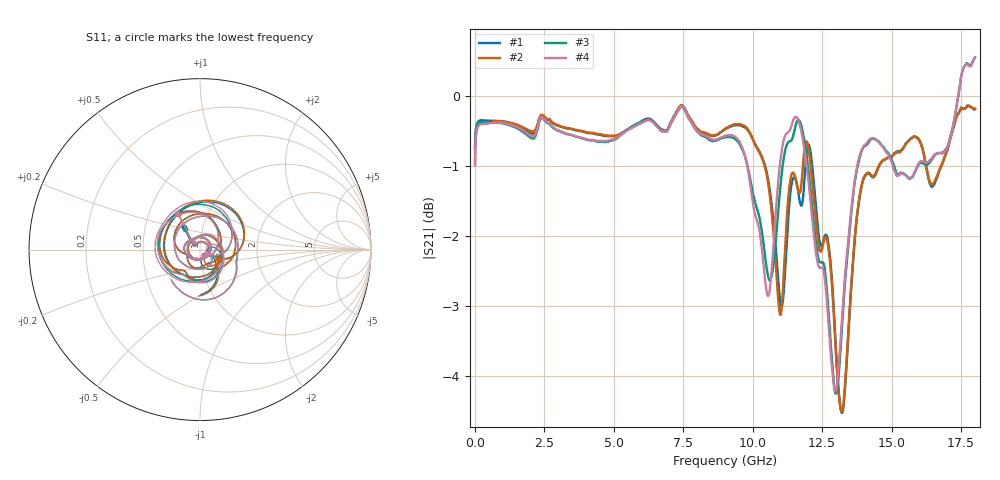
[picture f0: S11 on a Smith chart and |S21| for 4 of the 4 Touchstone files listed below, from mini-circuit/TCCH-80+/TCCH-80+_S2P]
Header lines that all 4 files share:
!Mini-Circuits
!S2P DATA File Format
!Type: RF CHOKE
!Port 1: RF; Port 2: RF AND DC IN
!TEST CONDITIONS: Z:50 OHM SYSTEM, INPUT POWER = -10dBm, TEMP:25°C
!FIXTURE: 90-2-20-165
!PRESSING ARM: B85-TA-076
!MODEL: TCCH-80+
# MHZ S DB R 50
!Frequency  S11 dB  S11 DEG  S21 dB  S21 DEG  S12 dB  S12 DEG  S22 dB  S22 DEG
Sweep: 10 MHz to 18 GHz
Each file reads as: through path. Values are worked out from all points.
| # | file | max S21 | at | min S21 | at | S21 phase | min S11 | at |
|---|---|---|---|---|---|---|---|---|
| 1 | TCCH-80+_AP190595_S_PARAM_U1_0mA.s2p | -0.12 dB | 7.44 GHz | -4.5 dB | 13.22 GHz | -7 deg at 8.96 GHz | -30.1 dB | 2.36 GHz |
| 2 | TCCH-80+_AP190595_S_PARAM_U1_100mA.s2p | -0.12 dB | 7.44 GHz | -4.5 dB | 13.2 GHz | -7 deg at 8.96 GHz | -30.5 dB | 2.36 GHz |
| 3 | TCCH-80+_AP190595_S_PARAM_U2_0mA.s2p | 0.56 dB | 18 GHz | -4.3 dB | 12.98 GHz | -7 deg at 8.96 GHz | -29.2 dB | 2.36 GHz |
| 4 | TCCH-80+_AP190595_S_PARAM_U2_100mA.s2p | 0.56 dB | 18 GHz | -4.2 dB | 12.98 GHz | -7 deg at 8.96 GHz | -29.6 dB | 2.36 GHz |
